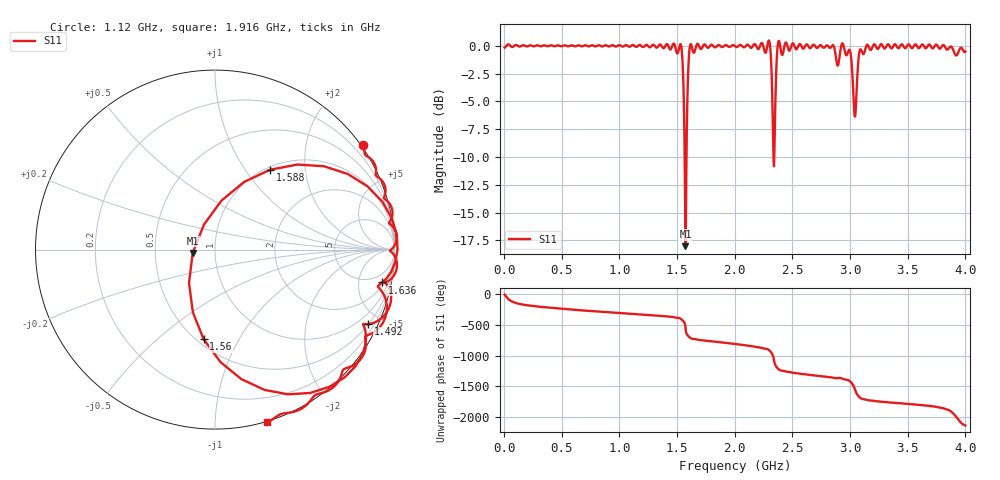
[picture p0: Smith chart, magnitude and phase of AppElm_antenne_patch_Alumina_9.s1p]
! TOUCHSTONE file generated by CST MICROWAVE STUDIO
! Date and time: Thu Jun  9 09:30:42 2022
! Project name: AppElm_antenne_patch_Alumina.cst
! Parameters = {L=30.5; W=41.8; e=0.035; h=1.6; lambda=0.190476; ls=90; w0=1.12; w1=0.4289; ws=90; y0=14; y1=10}
! Header version: 2018
! Port assignment regex: !\s*Touchstone port\s*([0-9]+)\s*=\s*(CST MWS port|CST DS port)\s*([0-9]+|Zmin|Zmax)\s*\(\"(.*)\"\)(\s*mode\s*([0-9]+))?.*
! Touchstone port assignment:
! Touchstone port 1 = CST MWS port 1 ("")
# GHz S MA R 50
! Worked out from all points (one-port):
!   1000 points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, 4 MHz to 4 GHz, reference 50 ohm
!   lowest |S11| = -18.0 dB at 1.572 GHz (marker M1), VSWR 1.29, Z = 38.9 - j1.47 ohm
!   |S11| at or under -10 dB: 1.565 GHz to 1.581 GHz (15.98 MHz wide, 1.02 % of centre); 2.335798 GHz to 2.342223 GHz (6.425 MHz wide, 0.275 % of centre)
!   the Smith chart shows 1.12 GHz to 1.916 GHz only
!   S11 on the Smith chart (normalised r, x): 1.12 GHz: -0.04, +3.15; 1.492 GHz: 0.51, -4.28; 1.56 GHz: 0.54, -0.73; 1.588 GHz: 1.04, +1.32; 1.636 GHz: 2.55, -9.62; 1.916 GHz: -0.01, -1.34
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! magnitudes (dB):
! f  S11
! 4 MHz  -0.2
! 504 MHz  0.0
! 1.004 GHz  0.0
! 1.12 GHz  0.1
! 1.492 GHz  -0.5
! 1.504 GHz  -0.7
! 1.536 GHz  0.0
! 1.544 GHz  -0.9
! 1.56 GHz  -6.0
! 1.572 GHz  -18.0
! 1.588 GHz  -5.3
! 1.608 GHz  -0.3
! 1.636 GHz  -0.4
! 1.916 GHz  0.0
! 2.004 GHz  0.0
! 2.292 GHz  0.4
! 2.304 GHz  0.2
! 2.34 GHz  -10.8
! 2.38 GHz  0.4
! 2.504 GHz  0.2
! 2.844 GHz  0.0
! 2.892 GHz  -1.8
! 2.936 GHz  0.2
! 3.004 GHz  -0.7
! 3.044 GHz  -6.4
! 3.096 GHz  -0.4
! 3.504 GHz  0.1
! 4 GHz  -0.5
